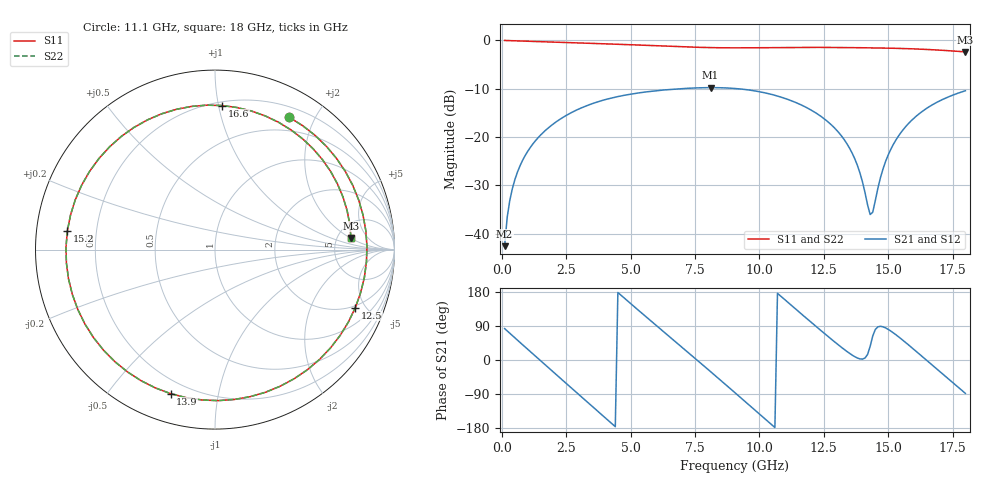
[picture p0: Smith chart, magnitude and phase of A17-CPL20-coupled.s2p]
! yapnr rf coupon A: A17 CPL0.20 (coupled, family CPL20)
! stackup JLC04161H-7628, nominal parameters; reference planes 10 mm from each end; 50 ohm (renormalized from the line's Zc)
! model: 2D quasi-static RLGC (Djordjevic-Sarkar, Huray roughness, Wheeler loss); generated by python -m yapnr.rf.coupons expected
# GHz S DB R 50
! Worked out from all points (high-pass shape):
!   180 points, 100 MHz to 18 GHz, reference 50 ohm
!   highest |S21| = -9.77 dB at 8.1 GHz (marker M1); lowest = -42.5 dB at 100 MHz (marker M2)
!   |S21| within 3 dB of the highest: 3.683 GHz to 11.38 GHz (7.694 GHz wide, 102 % of centre); 16.9 GHz to end of sweep
!   lowest |S11| = -2.4 dB at 18 GHz (marker M3), VSWR 7.35, Z = 336 + j103 ohm
!   |S11| at or under -10 dB: nowhere
!   |S22| runs from -2.4 to 0.0 dB; largest |S21 - S12| = 0
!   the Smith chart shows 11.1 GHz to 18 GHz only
!   S11 on the Smith chart (normalised r, x): 11.1 GHz: 0.32, +1.66; 12.5 GHz: 1.86, -4.25; 13.9 GHz: 0.13, -0.73; 15.2 GHz: 0.09, +0.06; 16.6 GHz: 0.23, +1.02; 18 GHz: 6.71, +2.05
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0.1  -0.02 -6.3  -42.55 82.9  -42.55 82.9  -0.02 -6.3
0.5  -0.08 -30.8  -28.77 58.4  -28.77 58.4  -0.08 -30.8
1.5  -0.27 -91.4  -19.56 -2.0  -19.56 -2.0  -0.27 -91.4
2.4  -0.43 -145.8  -15.81 -56.2  -15.81 -56.2  -0.43 -145.8
3.1  -0.55 171.9  -13.92 -98.3  -13.92 -98.3  -0.55 171.9
4.5  -0.80 88.4  -11.62 178.1  -11.62 178.1  -0.80 88.4
5.4  -0.99 35.8  -10.79 125.3  -10.79 125.3  -0.99 35.8
6.1  -1.14 -4.7  -10.36 84.8  -10.36 84.8  -1.14 -4.7
7.2  -1.36 -68.3  -9.91 21.5  -9.91 21.5  -1.36 -68.3
8.1  -1.49 -121.0  -9.77 -30.6  -9.77 -30.6  -1.49 -121.0
9.1  -1.54 179.8  -9.97 -89.3  -9.97 -89.3  -1.54 179.8
10.2  -1.51 114.1  -10.83 -154.5  -10.83 -154.5  -1.51 114.1
11.1  -1.46 60.6  -12.20 152.4  -12.20 152.4  -1.46 60.6
12.1  -1.45 1.3  -14.70 94.2  -14.70 94.2  -1.45 1.3
12.5  -1.45 -22.5  -16.15 71.4  -16.15 71.4  -1.45 -22.5
13.2  -1.48 -64.5  -19.85 32.7  -19.85 32.7  -1.48 -64.5
13.9  -1.52 -107.1  -27.35 3.0  -27.35 3.0  -1.52 -107.1
14.3  -1.54 -131.7  -36.01 35.9  -36.01 35.9  -1.54 -131.7
15.1  -1.62 178.9  -22.55 76.5  -22.55 76.5  -1.62 178.9
15.2  -1.63 172.7  -21.52 71.8  -21.52 71.8  -1.63 172.7
16.6  -1.90 87.3  -13.69 -7.0  -13.69 -7.0  -1.90 87.3
18  -2.38 4.9  -10.41 -88.1  -10.41 -88.1  -2.38 4.9
